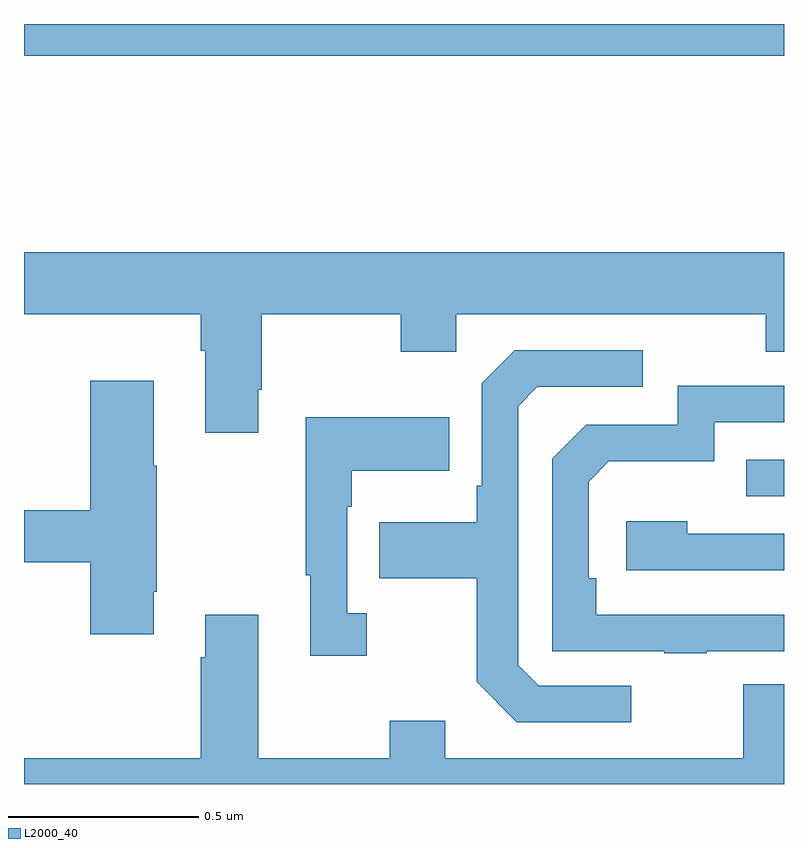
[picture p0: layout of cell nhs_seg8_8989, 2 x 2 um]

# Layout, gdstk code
import gdstk
lib = gdstk.Library(unit=1e-6, precision=1e-09)
def R(c, l, rs):  # rectangles x0, y0, x1, y1
    for r in rs: c.add(gdstk.rectangle(r[:2], r[2:], *l))
def P(c, l, *ps):  # polygons
    for p in ps: c.add(gdstk.Polygon(p, *l))
L2000_40 = (2000, 40)

nhs_seg8_8989 = lib.new_cell('nhs_seg8_8989')
R(nhs_seg8_8989, L2000_40, [(231.901,1146.657,232,1146.753), (230,1147.816,232,1147.9)])
P(nhs_seg8_8989, L2000_40, [(230.617,1146.937),(230.625,1146.937),(230.625,1147.136),(230.992,1147.136),(230.992,1147.037),(231.138,1147.037),(231.138,1147.136),(231.952,1147.136),(231.952,1147.037),(232,1147.037),(232,1147.3),(230,1147.3),(230,1147.136),(230.465,1147.136),(230.465,1147.04),(230.477,1147.04),(230.477,1146.825),(230.617,1146.825)],
  [(231.598,1146.159),(231.354,1146.159),(231.3,1146.213),(231.3,1146.894),(231.351,1146.945),(231.628,1146.945),(231.628,1147.041),(231.291,1147.041),(231.204,1146.954),(231.204,1146.685),(231.192,1146.685),(231.192,1146.589),(230.935,1146.589),(230.935,1146.442),(231.192,1146.442),(231.192,1146.169),(231.297,1146.063),(231.598,1146.063)],
  [(230.341,1146.406),(230.349,1146.406),(230.349,1146.737),(230.341,1146.737),(230.341,1146.961),(230.174,1146.961),(230.174,1146.62),(230,1146.62),(230,1146.484),(230.174,1146.484),(230.174,1146.294),(230.341,1146.294)],
  [(231.797,1146.249),(232,1146.249),(232,1146.345),(231.506,1146.345),(231.506,1146.442),(231.486,1146.442),(231.486,1146.696),(231.539,1146.749),(231.816,1146.749),(231.816,1146.852),(232,1146.852),(232,1146.948),(231.72,1146.948),(231.72,1146.846),(231.48,1146.846),(231.39,1146.756),(231.39,1146.249),(231.685,1146.249),(231.685,1146.244),(231.797,1146.244)],
  [(230.902,1146.35),(230.85,1146.35),(230.85,1146.629),(230.863,1146.629),(230.863,1146.725),(231.119,1146.725),(231.119,1146.865),(230.742,1146.865),(230.742,1146.449),(230.753,1146.449),(230.753,1146.237),(230.902,1146.237)],
  [(232,1146.558),(231.746,1146.558),(231.746,1146.592),(231.585,1146.592),(231.585,1146.462),(232,1146.462)],
  [(232,1146.163),(231.893,1146.163),(231.893,1145.968),(231.109,1145.968),(231.109,1146.067),(230.962,1146.067),(230.962,1145.968),(230.617,1145.968),(230.617,1146.346),(230.477,1146.346),(230.477,1146.233),(230.465,1146.233),(230.465,1145.968),(230,1145.968),(230,1145.9),(232,1145.9)])

lib.write_gds('nhs_seg8_8989.gds')
